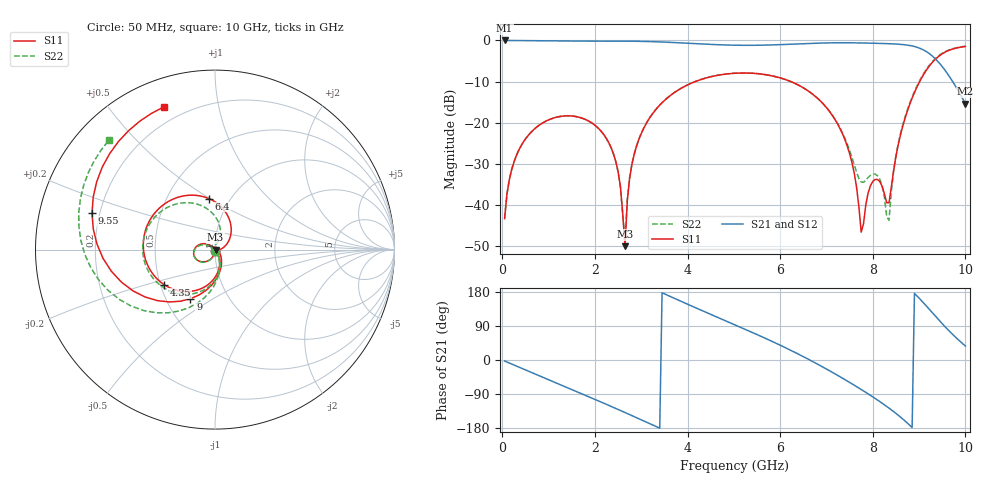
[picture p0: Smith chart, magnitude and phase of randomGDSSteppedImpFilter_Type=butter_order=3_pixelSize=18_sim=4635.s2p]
! freq	dB(S11)	phase(S11)	dB(S12)	phase(S12)
!  dB(S21)	phase(S21)	dB(S22)	phase(S22)
!S-par simulation data
#  GHz  S  DB  R 50
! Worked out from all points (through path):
!   200 points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, 50 MHz to 10 GHz, reference 50 ohm
!   highest |S21| = -0.01 dB at 50 MHz (marker M1); lowest = -15.3 dB at 10 GHz (marker M2)
!   group delay of S21, straight-line fit = 175 ps
!   lowest |S11| = -50.0 dB at 2.65 GHz (marker M3), VSWR 1.01, Z = 50.3 + j0.0371 ohm
!   |S11| at or under -10 dB: start of sweep to 4.166 GHz; 6.231 GHz to 9.013 GHz (2.782 GHz wide, 36.5 % of centre)
!   |S22| runs from -48.8 to -1.4 dB; largest |S21 - S12| = 0
!   S11 on the Smith chart (normalised r, x): 50 MHz: 1.00, -0.01; 4.35 GHz: 0.52, -0.23; 6.4 GHz: 0.80, +0.49; 9 GHz: 0.66, -0.40; 9.55 GHz: 0.17, +0.14; 10 GHz: 0.13, +0.70
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0.05  -43.28 -91.1  -0.01 -2.7  -0.01 -2.7  -43.28 -91.0
0.2  -31.48 -100.3  -0.02 -10.5  -0.02 -10.5  -31.48 -100.0
0.55  -23.21 -119.6  -0.06 -28.7  -0.06 -28.7  -23.21 -118.7
1.75  -18.99 176.8  -0.16 -90.8  -0.16 -90.8  -19.00 -179.9
2.4  -27.51 140.4  -0.16 -125.1  -0.16 -125.1  -27.56 148.4
2.55  -35.45 128.6  -0.16 -133.2  -0.16 -133.2  -35.57 145.2
2.65  -49.98 6.7  -0.17 -138.6  -0.17 -138.6  -48.80 -105.9
2.7  -38.85 -44.6  -0.17 -141.3  -0.17 -141.3  -38.54 -62.1
2.85  -27.59 -59.7  -0.19 -149.5  -0.19 -149.5  -27.51 -61.7
3.4  -15.71 -92.3  -0.36 -179.9  -0.36 -179.9  -15.68 -89.0
4.35  -9.28 -145.2  -0.89 128.4  -0.89 128.4  -9.27 -138.5
5.05  -7.96 176.7  -1.16 91.3  -1.16 91.3  -7.94 -173.9
6.4  -10.88 96.7  -0.84 15.2  -0.84 15.2  -10.87 115.4
6.7  -13.04 76.1  -0.70 -3.9  -0.70 -3.9  -13.03 98.8
7.45  -25.71 15.5  -0.57 -55.5  -0.57 -55.5  -25.21 68.4
7.75  -46.56 -73.8  -0.61 -77.8  -0.61 -77.8  -34.40 112.5
8  -34.26 159.3  -0.68 -97.3  -0.68 -97.3  -32.46 152.9
8.35  -39.43 31.2  -0.79 -126.9  -0.79 -126.9  -43.71 -108.3
8.55  -25.32 -51.1  -0.91 -145.7  -0.91 -145.7  -25.05 -67.9
9  -10.27 -116.6  -1.84 163.3  -1.84 163.3  -10.03 -108.4
9.55  -2.91 163.4  -7.08 89.1  -7.08 89.1  -2.79 -177.8
10  -1.47 109.7  -15.35 36.8  -15.35 36.8  -1.42 133.8
